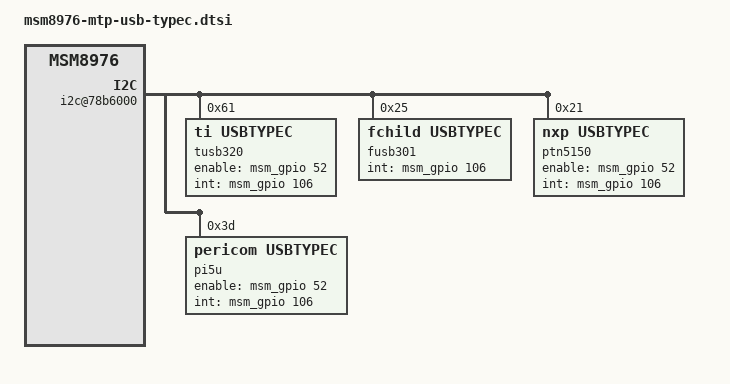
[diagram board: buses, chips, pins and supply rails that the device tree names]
/* Copyright (c) 2014-2015, The Linux Foundation. All rights reserved.
 *
 * This program is free software; you can redistribute it and/or modify
 * it under the terms of the GNU General Public License version 2 and
 * only version 2 as published by the Free Software Foundation.
 *
 * This program is distributed in the hope that it will be useful,
 * but WITHOUT ANY WARRANTY; without even the implied warranty of
 * MERCHANTABILITY or FITNESS FOR A PARTICULAR PURPOSE.  See the
 * GNU General Public License for more details.
 */

&soc {
    i2c@78b6000 {
    tusb320@61 {
                   compatible = "ti,usbtypec";
                   reg = <0x61>;
                   pinctrl-names = "ti_pin_active","ti_pin_suspend";
                   pinctrl-0 = <&ti_enable_active &ti_int_active>;
                   pinctrl-1 = <&ti_enable_suspend &ti_int_suspend>;
                   ti,enable-gpio = <&msm_gpio 52 0>;
                   ti,int-gpio = <&msm_gpio 106 0>;
                };
	fusb301@25 {
                   compatible = "fchild,usbtypec";
                   reg = <0x25>;
                   pinctrl-names = "fchild_pin_active","fchild_pin_suspend";
/*                 pinctrl-0 = <&fchild_enable_active &fchild_int_active>;
                   pinctrl-1 = <&fchild_enable_suspend &fchild_int_suspend>;
                   fchild,enable-gpio = <&msm_gpio 52 0>;*/
	           pinctrl-0 = <&fchild_int_active>;
                   pinctrl-1 = <&fchild_int_suspend>;
                   fchild,int-gpio = <&msm_gpio 106 0>;
                };
	ptn5150@21 {
		     compatible = "nxp,usbtypec";
                   reg = <0x21>;
                   pinctrl-names = "nxp_pin_active","nxp_pin_suspend";
                   pinctrl-0 = <&nxp_enable_active &nxp_int_active>;
                   pinctrl-1 = <&nxp_enable_suspend &nxp_int_suspend>;
                   nxp,enable-gpio = <&msm_gpio 52 0>;
                   nxp,int-gpio = <&msm_gpio 106 0>;
                };
	pi5u@3d {
		     compatible = "pericom,usbtypec";
                   reg = <0x3d>;
                   pinctrl-names = "pericom_pin_active","pericom_pin_suspend";
                   pinctrl-0 = <&pericom_enable_active &pericom_int_active>;
                   pinctrl-1 = <&pericom_enable_suspend &pericom_int_suspend>;
                   pericom,enable-gpio = <&msm_gpio 52 0>;
                   pericom,int-gpio = <&msm_gpio 106 0>;
                 };
    };
};
